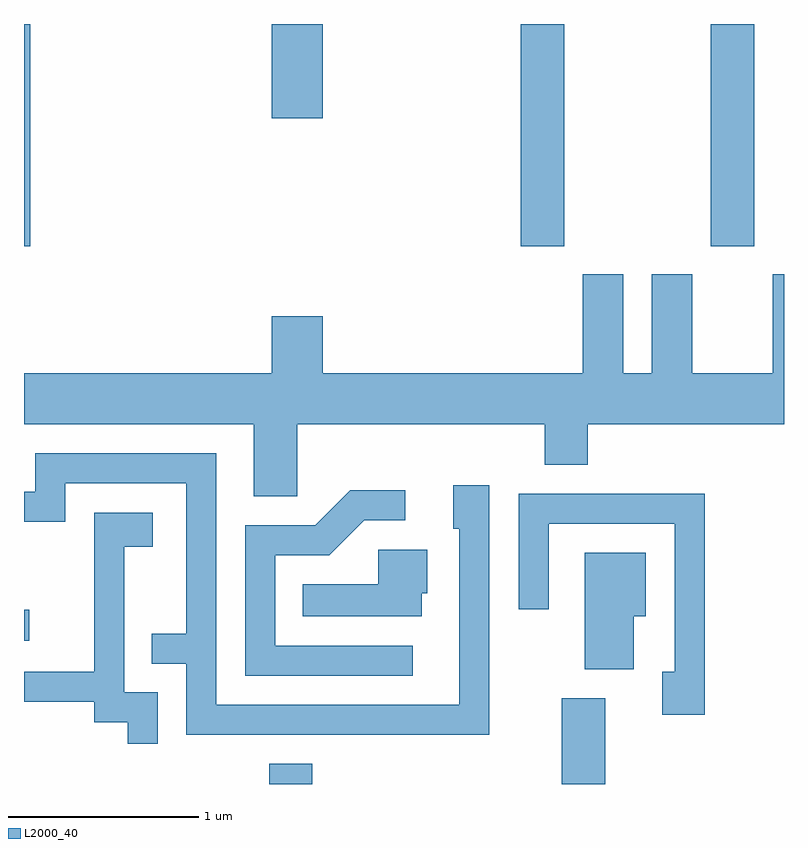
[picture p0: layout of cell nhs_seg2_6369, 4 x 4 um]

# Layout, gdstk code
import gdstk
lib = gdstk.Library(unit=1e-6, precision=1e-09)
def R(c, l, rs):  # rectangles x0, y0, x1, y1
    for r in rs: c.add(gdstk.rectangle(r[:2], r[2:], *l))
def P(c, l, *ps):  # polygons
    for p in ps: c.add(gdstk.Polygon(p, *l))
L2000_40 = (2000, 40)

nhs_seg2_6369 = lib.new_cell('nhs_seg2_6369')
R(nhs_seg2_6369, L2000_40, [(374.901,999.802,375.129,999.909), (376.441,999.802,376.669,1000.254), (373.611,1000.556,373.638,1000.719), (373.611,1002.631,373.644,1003.802), (376.226,1002.631,376.454,1003.802), (377.226,1002.631,377.454,1003.802), (374.916,1003.306,375.184,1003.802)])
P(nhs_seg2_6369, L2000_40, [(375.049,1001.696),(376.351,1001.696),(376.351,1001.481),(376.579,1001.481),(376.579,1001.696),(377.611,1001.696),(377.611,1002.484),(377.551,1002.484),(377.551,1001.964),(377.129,1001.964),(377.129,1002.484),(376.916,1002.484),(376.916,1001.964),(376.764,1001.964),(376.764,1002.484),(376.551,1002.484),(376.551,1001.964),(375.184,1001.964),(375.184,1002.264),(374.916,1002.264),(374.916,1001.964),(373.611,1001.964),(373.611,1001.696),(374.821,1001.696),(374.821,1001.316),(375.049,1001.316)],
  [(376.059,1001.374),(375.871,1001.374),(375.871,1001.146),(375.901,1001.146),(375.901,1000.219),(374.624,1000.219),(374.624,1001.544),(373.671,1001.544),(373.671,1001.339),(373.611,1001.339),(373.611,1001.181),(373.829,1001.181),(373.829,1001.386),(374.466,1001.386),(374.466,1000.594),(374.283,1000.594),(374.283,1000.436),(374.466,1000.436),(374.466,1000.061),(376.059,1000.061)],
  [(375.658,1000.529),(374.934,1000.529),(374.934,1001.006),(375.217,1001.006),(375.402,1001.191),(375.618,1001.191),(375.618,1001.349),(375.329,1001.349),(375.144,1001.164),(374.776,1001.164),(374.776,1000.371),(375.658,1000.371)],
  [(377.194,1001.329),(376.216,1001.329),(376.216,1000.723),(376.374,1000.723),(376.374,1001.171),(377.036,1001.171),(377.036,1000.394),(376.971,1000.394),(376.971,1000.166),(377.194,1000.166)],
  [(374.314,1000.284),(374.139,1000.284),(374.139,1001.051),(374.289,1001.051),(374.289,1001.229),(373.981,1001.229),(373.981,1000.394),(373.611,1000.394),(373.611,1000.236),(373.981,1000.236),(373.981,1000.126),(374.156,1000.126),(374.156,1000.013),(374.314,1000.013)],
  [(375.704,1000.806),(375.734,1000.806),(375.734,1001.034),(375.476,1001.034),(375.476,1000.854),(375.078,1000.854),(375.078,1000.686),(375.704,1000.686)],
  [(376.819,1000.686),(376.884,1000.686),(376.884,1001.019),(376.561,1001.019),(376.561,1000.406),(376.819,1000.406)])

lib.write_gds('nhs_seg2_6369.gds')
